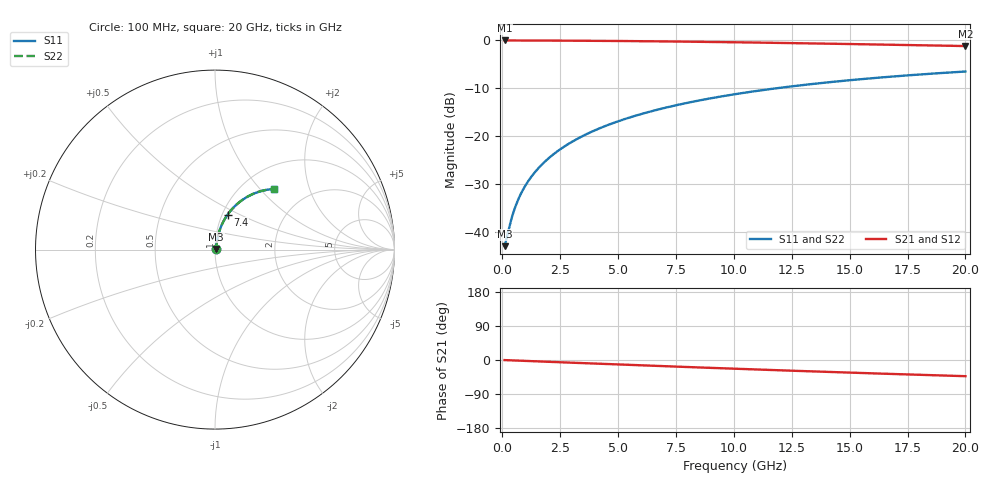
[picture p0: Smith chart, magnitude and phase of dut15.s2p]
! Touchstone file exported from HFSS 2026.1.0
!  File:  C:/ffzhzh/LocalFiles/Ansys_Project_Files/temp_train_BSMRDL_15_1782881939_8056.aedt
!  Generated:  01:00:12 PM Jul  1, 2026
!  Design:  BSMRDL
!  Project:  temp_train_BSMRDL_15_1782881939_8056
! Variables:
!  h_bsmrdl = 2.21um
!  h_ox = 20um
!  h_rdl = 5um
!  h_sub = 80um
!  h_tmrdl = 5um
!  h_tsv = 80um
!  h_via = 3um
!  l_bsmrdl = 558.38um
!  l_sub = 958.38um
!  l_tmrdl = 200um
!  m_sub = 200um
!  pitch = 46.16um
!  r_tsv = 6um
!  s_tmrdl = 10um
!  w_bsmrdl = 14.13um
!  w_sub = 500um
!  w_tmrdl = 12um
!  x_tsv_center1 = 206um
!  x_tsv_center2 = 778.51um
!  x_tsv_center3 = 990.51um
!  x_tsv_center4 = 1563.02um
!  x_tsv_center5 = 1775.02um
!  x_tsv_center6 = 2347.53um
# GHz S MA R 50.000000
! Terminal data exported
! Port[1] = BSM_RDL1_1_T1
! Port[2] = BSM_RDL1_1_T2
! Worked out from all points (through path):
!   200 points, 100 MHz to 20 GHz, reference 50 ohm
!   highest |S21| = -0.06 dB at 100 MHz (marker M1); lowest = -1.2 dB at 20 GHz (marker M2)
!   group delay of S21, straight-line fit = 5.95 ps
!   lowest |S11| = -42.9 dB at 100 MHz (marker M3), VSWR 1.01, Z = 50.7 + j0.31 ohm
!   |S11| at or under -10 dB: start of sweep to 11.86 GHz
!   |S22| runs from -42.9 to -6.5 dB; largest |S21 - S12| = 3e-15
!   S11 on the Smith chart (normalised r, x): 100 MHz: 1.01, +0.01; 7.4 GHz: 1.06, +0.43; 20 GHz: 1.38, +1.20
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0.1  0.007162 25.3  0.9935 -0.2  0.9935 -0.2  0.007162 25.3
! Gamma 0 0 0 0
! Port Impedance 50 0 50 0
0.3  0.01133 53.6  0.9933 -0.7  0.9933 -0.7  0.01133 53.6
0.4  0.01394 60.2  0.9932 -1.0  0.9932 -1.0  0.01394 60.2
0.5  0.01667 64.5  0.993 -1.2  0.993 -1.2  0.01667 64.5
0.6  0.01945 67.6  0.9929 -1.5  0.9929 -1.5  0.01945 67.6
0.7  0.02225 69.7  0.9927 -1.7  0.9927 -1.7  0.02225 69.7
0.9  0.02788 72.6  0.9923 -2.2  0.9923 -2.2  0.02788 72.6
1.2  0.03633 75.1  0.9918 -2.9  0.9918 -2.9  0.03633 75.1
1.4  0.04197 76.1  0.9915 -3.4  0.9915 -3.4  0.04197 76.1
1.7  0.05044 77.0  0.9909 -4.1  0.9909 -4.1  0.05044 77.0
2.2  0.06458 77.6  0.9899 -5.2  0.9899 -5.2  0.06458 77.6
2.8  0.08155 77.6  0.9885 -6.6  0.9885 -6.6  0.08154 77.6
3.5  0.1013 77.0  0.9866 -8.3  0.9866 -8.3  0.1013 77.0
4.2  0.1208 76.0  0.9842 -9.9  0.9842 -9.9  0.1208 76.1
5  0.143 74.7  0.981 -11.8  0.981 -11.8  0.143 74.8
6.8  0.1916 71.4  0.9723 -15.9  0.9723 -15.9  0.1916 71.4
7.4  0.2074 70.2  0.9689 -17.2  0.9689 -17.2  0.2074 70.2
8.7  0.2407 67.5  0.9608 -20.1  0.9608 -20.1  0.2407 67.6
10.1  0.2752 64.7  0.9512 -23.2  0.9512 -23.2  0.2752 64.7
13.4  0.3501 58.0  0.9255 -30.1  0.9255 -30.1  0.35 58.1
16.7  0.4156 51.7  0.8974 -36.6  0.8974 -36.6  0.4156 51.8
20  0.4718 45.7  0.8689 -42.7  0.8689 -42.7  0.4718 45.8
